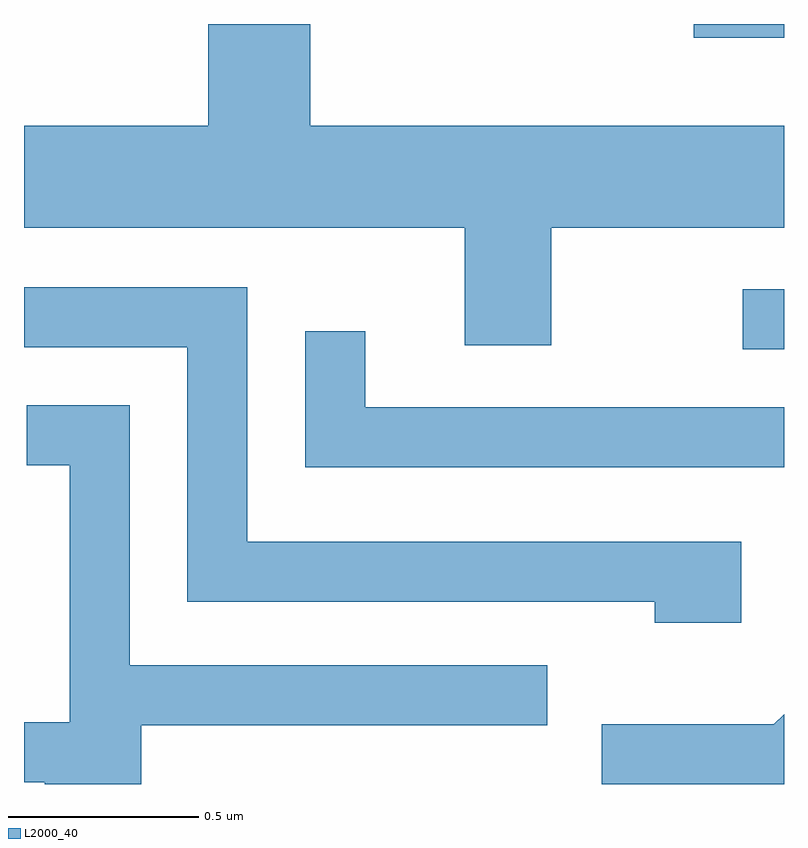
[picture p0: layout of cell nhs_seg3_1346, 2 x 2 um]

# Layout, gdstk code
import gdstk
lib = gdstk.Library(unit=1e-6, precision=1e-09)
def R(c, l, rs):  # rectangles x0, y0, x1, y1
    for r in rs: c.add(gdstk.rectangle(r[:2], r[2:], *l))
def P(c, l, *ps):  # polygons
    for p in ps: c.add(gdstk.Polygon(p, *l))
L2000_40 = (2000, 40)

nhs_seg3_1346 = lib.new_cell('nhs_seg3_1346')
R(nhs_seg3_1346, L2000_40, [(196.503,1230.036,196.611,1230.194), (196.373,1230.856,196.611,1230.892)])
P(nhs_seg3_1346, L2000_40, [(195.999,1230.356),(196.611,1230.356),(196.611,1230.624),(195.364,1230.624),(195.364,1230.892),(195.096,1230.892),(195.096,1230.624),(194.611,1230.624),(194.611,1230.356),(195.771,1230.356),(195.771,1230.046),(195.999,1230.046)],
  [(196.499,1229.529),(195.199,1229.529),(195.199,1230.199),(194.611,1230.199),(194.611,1230.041),(195.041,1230.041),(195.041,1229.371),(196.271,1229.371),(196.271,1229.316),(196.499,1229.316)],
  [(196.611,1229.884),(195.509,1229.884),(195.509,1230.083),(195.351,1230.083),(195.351,1229.726),(196.611,1229.726)],
  [(194.919,1229.046),(195.988,1229.046),(195.988,1229.204),(194.889,1229.204),(194.889,1229.889),(194.618,1229.889),(194.618,1229.731),(194.731,1229.731),(194.731,1229.054),(194.611,1229.054),(194.611,1228.896),(194.665,1228.896),(194.665,1228.892),(194.919,1228.892)],
  [(196.611,1229.076),(196.584,1229.049),(196.131,1229.049),(196.131,1228.892),(196.611,1228.892)])

lib.write_gds('nhs_seg3_1346.gds')
